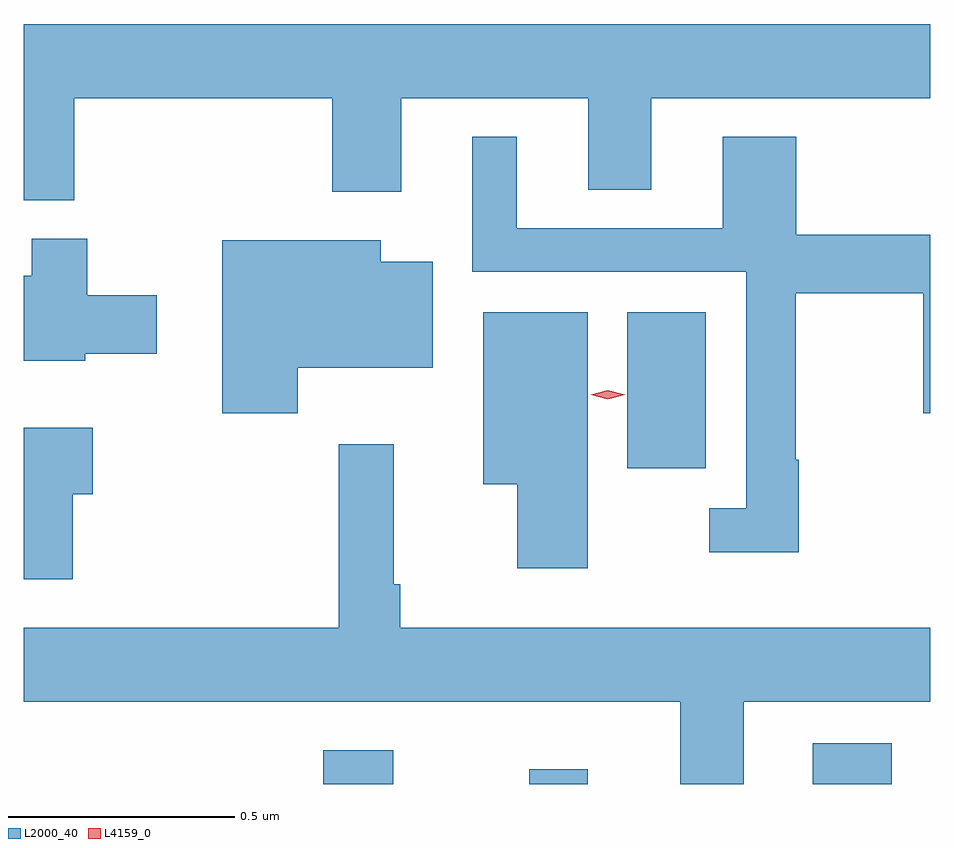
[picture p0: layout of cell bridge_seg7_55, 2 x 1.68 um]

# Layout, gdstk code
import gdstk
lib = gdstk.Library(unit=1e-6, precision=1e-09)
def R(c, l, rs):  # rectangles x0, y0, x1, y1
    for r in rs: c.add(gdstk.rectangle(r[:2], r[2:], *l))
def P(c, l, *ps):  # polygons
    for p in ps: c.add(gdstk.Polygon(p, *l))
L2000_40 = (2000, 40)
L4159_0 = (4159, 0)

bridge_seg7_55 = lib.new_cell('bridge_seg7_55')
R(bridge_seg7_55, L2000_40, [(921.255,1015.087,921.409,1015.162), (921.709,1015.087,921.838,1015.12), (922.335,1015.087,922.509,1015.177), (921.926,1015.784,922.099,1016.128)])
P(bridge_seg7_55, L2000_40, [(920.594,1016.375),(920.705,1016.375),(920.705,1016.6),(921.275,1016.6),(921.275,1016.394),(921.427,1016.394),(921.427,1016.6),(921.839,1016.6),(921.839,1016.398),(921.979,1016.398),(921.979,1016.6),(922.594,1016.6),(922.594,1016.764),(920.594,1016.764)],
  [(922.304,1015.802),(922.297,1015.802),(922.297,1016.17),(922.579,1016.17),(922.579,1015.905),(922.594,1015.905),(922.594,1016.299),(922.298,1016.299),(922.298,1016.515),(922.136,1016.515),(922.136,1016.313),(921.682,1016.313),(921.682,1016.515),(921.584,1016.515),(921.584,1016.217),(922.188,1016.217),(922.188,1015.695),(922.107,1015.695),(922.107,1015.598),(922.304,1015.598)],
  [(920.73,1016.036),(920.887,1016.036),(920.887,1016.166),(920.734,1016.166),(920.734,1016.29),(920.612,1016.29),(920.612,1016.209),(920.594,1016.209),(920.594,1016.021),(920.73,1016.021)],
  [(921.198,1016.006),(921.496,1016.006),(921.496,1016.239),(921.382,1016.239),(921.382,1016.287),(921.032,1016.287),(921.032,1015.905),(921.198,1015.905)],
  [(921.838,1016.128),(921.608,1016.128),(921.608,1015.748),(921.683,1015.748),(921.683,1015.563),(921.838,1015.563)],
  [(920.702,1015.726),(920.746,1015.726),(920.746,1015.873),(920.594,1015.873),(920.594,1015.539),(920.702,1015.539)],
  [(922.183,1015.268),(922.594,1015.268),(922.594,1015.432),(921.425,1015.432),(921.425,1015.528),(921.41,1015.528),(921.41,1015.837),(921.289,1015.837),(921.289,1015.432),(920.594,1015.432),(920.594,1015.268),(922.043,1015.268),(922.043,1015.087),(922.183,1015.087)])
P(bridge_seg7_55, L4159_0, [(921.883,1015.936),(921.845,1015.946),(921.845,1015.946),(921.845,1015.946),(921.883,1015.956),(921.921,1015.946),(921.921,1015.946),(921.921,1015.946)])

lib.write_gds('bridge_seg7_55.gds')
